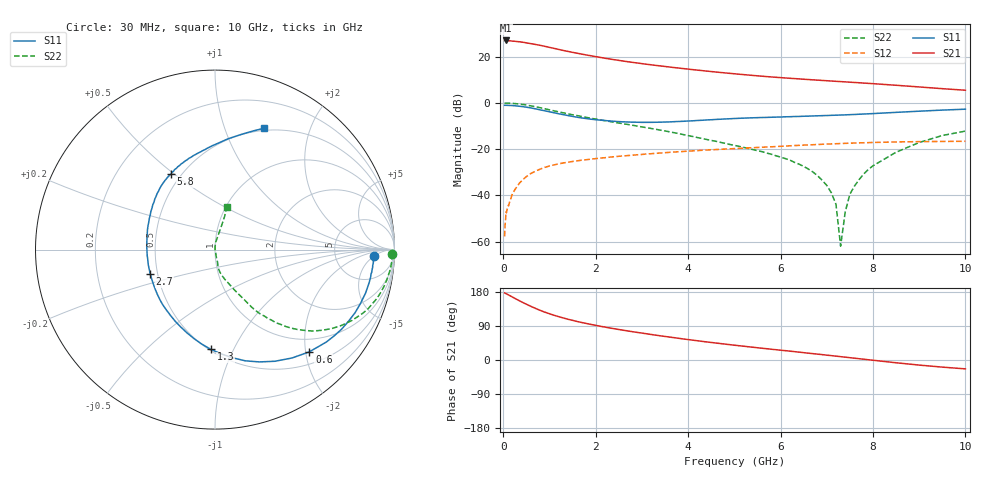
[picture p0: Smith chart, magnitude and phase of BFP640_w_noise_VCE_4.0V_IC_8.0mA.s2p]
! Infineon Technologies  Discrete & RF Semiconductors
! BFP640
! VCE =  4.0 V,  IC =  8.0 mA
! Common Emitter S-Parameters:  Apr 2013
# GHz  S  MA  R  50
!  f  S11  S21  S12  S22
! GHz  MAG  ANG  MAG  ANG  MAG  ANG  MAG  ANG
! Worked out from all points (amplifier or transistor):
!   99 points, 30 MHz to 10 GHz, reference 50 ohm
!   highest |S21| = 27.0 dB at 50 MHz (marker M1)
!   |S21| within 3 dB of that: start of sweep to 1.001 GHz
!   unconditionally stable (mu >= 1): 4.081 GHz to end of sweep
!   at 350 MHz: K = 0.16, MSG = 30.5 dB, |S12| = -34.7 dB
!   at 3.5 GHz: K = 0.94, MSG = 18.6 dB, |S12| = -21.5 dB
!   at 10 GHz: K = 1.11, MAG = 9.0 dB, |S12| = -16.6 dB
!   lowest NFmin = 0.60 dB at 450 MHz
!   S11 on the Smith chart (normalised r, x): 30 MHz: 15, -5; 600 MHz: 0.73, -2.07; 1.3 GHz: 0.51, -0.82; 2.7 GHz: 0.46, -0.14; 5.8 GHz: 0.44, +0.49; 10 GHz: 0.48, +1.37
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0.03  0.8854 -2.3  22.07 177.0  0.0013 69.7  0.9863 -1.4
0.05  0.8842 -3.9  22.28 176.0  0.0029 66.2  0.9865 -2.4
0.15  0.8783 -12.2  21.87 169.4  0.0077 79.4  0.9798 -7.3
0.35  0.844 -28.3  20.88 156.3  0.0184 73.8  0.9425 -16.8
0.45  0.8194 -36.0  20.2 150.1  0.0231 71.2  0.9147 -21.1
0.6  0.7751 -47.3  19.01 141.5  0.0299 66.2  0.8608 -27.2
0.7  0.7409 -54.6  18.25 136.1  0.0335 62.9  0.8223 -30.9
0.9  0.6726 -68.5  16.65 126.3  0.0403 57.5  0.7455 -37.1
1.3  0.556 -92.4  13.54 110.9  0.0503 49.2  0.6087 -45.9
1.7  0.4715 -113.9  11.3 98.9  0.0576 44.1  0.5057 -51.2
2.1  0.4234 -133.4  9.58 89.0  0.0641 40.0  0.4282 -55.4
2.7  0.3855 -159.5  7.729 76.6  0.0726 35.5  0.3411 -58.9
3.4  0.3821 173.4  6.278 63.8  0.0824 31.2  0.2572 -63.7
5.1  0.4631 130.7  4.156 37.7  0.1038 19.9  0.115 -79.1
5.8  0.4883 120.3  3.628 28.4  0.1123 15.7  0.0776 -79.0
6.7  0.5208 108.7  3.142 16.8  0.1245 9.4  0.0321 -79.3
7.2  0.5409 101.5  2.919 10.2  0.1309 5.5  0.0064 -83.2
7.3  0.5457 100.1  2.878 8.8  0.1319 4.6  0.0008 -46.0
7.4  0.5497 98.6  2.838 7.5  0.1332 3.8  0.0044 85.7
7.6  0.5604 95.6  2.756 4.8  0.1353 2.1  0.0159 88.7
8.5  0.6227 83.1  2.397 -7.3  0.1429 -5.6  0.0858 77.2
10  0.7293 68.0  1.873 -23.4  0.1477 -16.0  0.2452 74.8
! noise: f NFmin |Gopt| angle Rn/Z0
0.45  0.6  0.33  11  0.07
0.9  0.61  0.32  18  0.07
1.5  0.64  0.29  30  0.07
1.9  0.67  0.23  49  0.08
2.4  0.72  0.21  58  0.08
3.5  0.84  0.17  76  0.09
5.5  1.07  0.23  -139  0.1
10  1.69  0.6  -62  0.41
